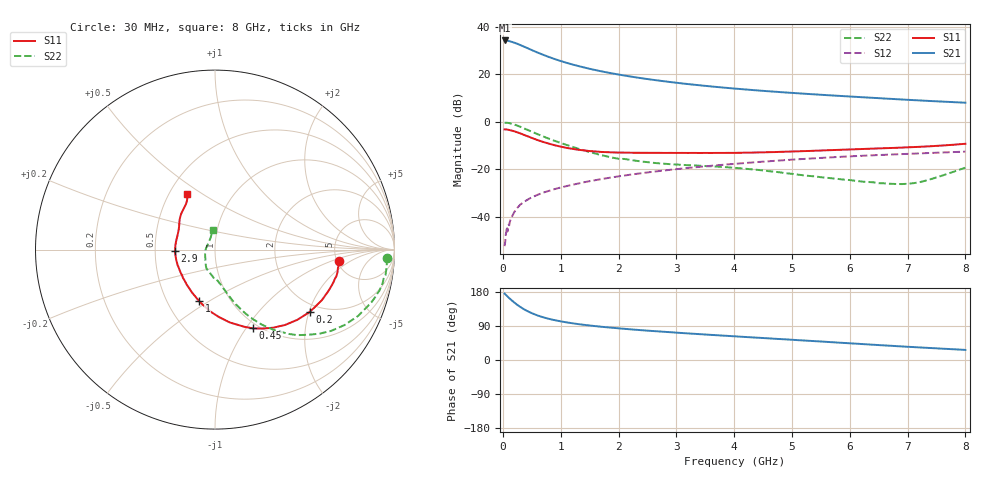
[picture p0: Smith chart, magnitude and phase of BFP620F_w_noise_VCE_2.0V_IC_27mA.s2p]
! Infineon Technologies  Discrete & RF Semiconductors
! BFP620F
! VCE =  2.0 V,  IC =  27 mA
! Common Emitter S-Parameters:  Dec 2014
# GHz  S  MA  R  50
!  f  S11  S21  S12  S22
! GHz  MAG  ANG  MAG  ANG  MAG  ANG  MAG  ANG
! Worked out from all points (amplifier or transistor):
!   95 points, 30 MHz to 8 GHz, reference 50 ohm
!   highest |S21| = 34.3 dB at 30 MHz (marker M1)
!   |S21| within 3 dB of that: start of sweep to 402.7 MHz
!   unconditionally stable (mu >= 1): 2.547 GHz to end of sweep
!   at 300 MHz: K = 0.37, MSG = 33.7 dB, |S12| = -34.9 dB
!   at 3.3 GHz: K = 1.02, MAG = 16.5 dB, |S12| = -19.2 dB
!   at 8 GHz: K = 1.06, MAG = 8.8 dB, |S12| = -12.5 dB
!   lowest NFmin = 1.05 dB at 450 MHz
!   S11 on the Smith chart (normalised r, x): 30 MHz: 5.24, -1.28; 200 MHz: 1.76, -2.03; 450 MHz: 0.94, -1.08; 1 GHz: 0.72, -0.46; 2.9 GHz: 0.64, -0.01; 8 GHz: 0.62, +0.43
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0.03  0.6952 -5.2  52.16 175.2  0.0024 70.8  0.9581 -2.8
0.07  0.6927 -12.2  51.6 169.2  0.0062 87.9  0.9606 -8.6
0.11  0.6753 -19.0  50.4 163.2  0.0066 80.3  0.9441 -14.0
0.15  0.658 -25.5  48.93 157.8  0.0097 76.3  0.9172 -19.0
0.2  0.6326 -33.2  46.66 151.4  0.0127 73.8  0.8786 -24.9
0.25  0.6031 -40.4  44.31 145.4  0.0154 72.7  0.8363 -30.1
0.3  0.5733 -47.1  41.86 140.1  0.018 70.4  0.7907 -34.9
0.4  0.5121 -59.2  37.05 130.9  0.0219 67.8  0.6999 -42.7
0.45  0.4871 -64.3  34.8 127.1  0.0238 66.8  0.6615 -46.1
0.6  0.414 -78.6  29 117.5  0.029 64.8  0.5512 -54.0
0.7  0.377 -86.5  25.9 112.6  0.0324 64.5  0.492 -58.1
0.8  0.3472 -93.9  23.27 108.5  0.0353 64.2  0.4413 -61.4
1  0.3014 -106.9  19.23 102.0  0.0414 63.7  0.3605 -66.7
1.2  0.271 -118.4  16.29 97.0  0.0473 63.5  0.2996 -71.0
1.4  0.2513 -128.7  14.09 92.9  0.0533 63.4  0.252 -74.7
2  0.2257 -154.0  9.976 83.6  0.0711 62.2  0.1674 -87.1
2.7  0.2227 -174.0  7.428 75.4  0.092 59.5  0.134 -101.7
2.9  0.2224 -178.6  6.921 73.3  0.098 58.4  0.1284 -105.1
4.1  0.2237 159.0  4.94 61.6  0.1334 52.2  0.1055 -118.3
5.4  0.2471 143.6  3.803 49.7  0.1713 44.1  0.0708 -140.5
6.7  0.2815 129.9  3.066 37.6  0.2049 35.2  0.0496 166.1
8  0.346 116.3  2.541 26.6  0.2362 26.5  0.1082 96.9
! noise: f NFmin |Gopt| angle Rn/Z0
0.45  1.05  0.02  -178  0.19
0.9  1.09  0.03  -171  0.15
1.5  1.1  0.05  -151  0.16
1.8  1.12  0.06  -148  0.17
1.9  1.12  0.07  -148  0.16
2.4  1.14  0.08  -147  0.16
3.5  1.21  0.11  -143  0.17
5.5  1.36  0.19  238  0.12
6  1.4  0.2  259  0.15
